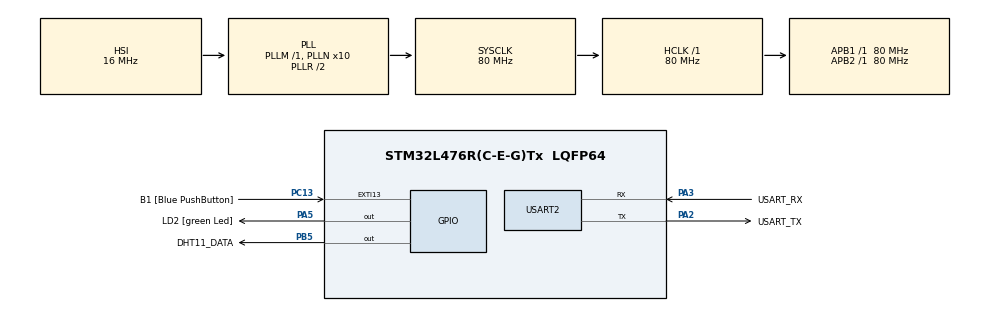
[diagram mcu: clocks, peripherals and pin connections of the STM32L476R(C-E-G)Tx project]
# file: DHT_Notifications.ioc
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FREERTOS.Tasks01=defaultTask,24,128,StartDefaultTask,Default,NULL,Dynamic,NULL,NULL
FREERTOS.configTOTAL_HEAP_SIZE=8192
Mcu.Family=STM32L4
Mcu.Name=STM32L476R(C-E-G)Tx
Mcu.Package=LQFP64
NVIC.PriorityGroup=NVIC_PRIORITYGROUP_4
PA13\ (JTMS-SWDIO).GPIO_Label=TMS
PA13\ (JTMS-SWDIO).Mode=Serial_Wire
PA13\ (JTMS-SWDIO).Signal=SYS_JTMS-SWDIO
PA14\ (JTCK-SWCLK).GPIO_Label=TCK
PA14\ (JTCK-SWCLK).Mode=Serial_Wire
PA14\ (JTCK-SWCLK).Signal=SYS_JTCK-SWCLK
PA2.GPIO_Label=USART_TX
PA2.GPIO_Mode=GPIO_MODE_AF_PP
PA2.GPIO_PuPd=GPIO_NOPULL
PA2.GPIO_Speed=GPIO_SPEED_FREQ_VERY_HIGH
PA2.Mode=Asynchronous
PA2.Signal=USART2_TX
PA3.GPIO_Label=USART_RX
PA3.GPIO_Mode=GPIO_MODE_AF_PP
PA3.GPIO_PuPd=GPIO_NOPULL
PA3.GPIO_Speed=GPIO_SPEED_FREQ_VERY_HIGH
PA3.Mode=Asynchronous
PA3.Signal=USART2_RX
PA5.GPIO_Label=LD2 [green Led]
PA5.GPIO_ModeDefaultOutputPP=GPIO_MODE_OUTPUT_PP
PA5.GPIO_PuPd=GPIO_NOPULL
PA5.GPIO_Speed=GPIO_SPEED_FREQ_LOW
PA5.Signal=GPIO_Output
PB3\ (JTDO-TRACESWO).GPIO_Label=SWO
PB3\ (JTDO-TRACESWO).Signal=SYS_JTDO-SWO
PB5.GPIO_Label=DHT11_DATA
PB5.Signal=GPIO_Output
PC13.GPIO_Label=B1 [Blue PushButton]
PC13.GPIO_ModeDefaultEXTI=GPIO_MODE_IT_FALLING
PC13.GPIO_PuPd=GPIO_NOPULL
PC13.Signal=GPXTI13
PC14-OSC32_IN\ (PC14).Mode=LSE-External-Oscillator
PC14-OSC32_IN\ (PC14).Signal=RCC_OSC32_IN
PC15-OSC32_OUT\ (PC15).Mode=LSE-External-Oscillator
PC15-OSC32_OUT\ (PC15).Signal=RCC_OSC32_OUT
PH0-OSC_IN\ (PH0).Signal=RCC_OSC_IN
PH1-OSC_OUT\ (PH1).Signal=RCC_OSC_OUT
ProjectManager.HeapSize=0x200
ProjectManager.StackSize=0x400
ProjectManager.TargetToolchain=CMake
RCC.ADCFreq_Value=64000000
RCC.AHBFreq_Value=80000000
RCC.APB1Freq_Value=80000000
RCC.APB1TimFreq_Value=80000000
RCC.APB2Freq_Value=80000000
RCC.APB2TimFreq_Value=80000000
RCC.CortexFreq_Value=80000000
RCC.HCLKFreq_Value=80000000
RCC.HSE_VALUE=8000000
RCC.HSI_VALUE=16000000
RCC.MSI_VALUE=4000000
RCC.PLLN=10
RCC.PLLSourceVirtual=RCC_PLLSOURCE_HSI
RCC.PREFETCH_ENABLE=1
RCC.SYSCLKFreq_VALUE=80000000
RCC.SYSCLKSource=RCC_SYSCLKSOURCE_PLLCLK
RCC.USBFreq_Value=64000000
RCC.VCOOutputFreq_Value=160000000
USART2.VirtualMode-Asynchronous=VM_ASYNC
VP_FREERTOS_VS_CMSIS_V2.Mode=CMSIS_V2
board=NUCLEO-L476RG

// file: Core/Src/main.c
/* USER CODE BEGIN Header */
/**
 ******************************************************************************
 * @file           : main.c
 * @brief          : Main program body
 ******************************************************************************
 * @attention
 *
 * Copyright (c) 2026 STMicroelectronics.
 * All rights reserved.
 *
 * This software is licensed under terms that can be found in the LICENSE file
 * in the root directory of this software component.
 * If no LICENSE file comes with this software, it is provided AS-IS.
 *
 ******************************************************************************
 */
/* USER CODE END Header */
#include "main.h"
#include "cmsis_os.h"

/* USER CODE BEGIN Includes */
#include "delay_task.h"
#include "dht_task.h"
#include "print_task.h"

/* USER CODE END Includes */

UART_HandleTypeDef huart2;

/* Definitions for defaultTask */
osThreadId_t defaultTaskHandle;
const osThreadAttr_t defaultTask_attributes = {
    .name = "defaultTask",
    .stack_size = 128 * 4,
    .priority = (osPriority_t)osPriorityNormal,
};
/* USER CODE BEGIN PV */
TaskHandle_t dhtTaskHandle;
TaskHandle_t printTaskHandle;
/* USER CODE END PV */

void SystemClock_Config(void);
static void MX_GPIO_Init(void);
static void MX_USART2_UART_Init(void);
void StartDefaultTask(void *argument);

int main(void)
{

    /* MCU
     * Configuration--------------------------------------------------------*/

    /* Reset of all peripherals, Initializes the Flash interface and the
     * Systick. */
    HAL_Init();

    /* Configure the system clock */
    SystemClock_Config();

    /* Initialize all configured peripherals */
    MX_GPIO_Init();
    MX_USART2_UART_Init();

    /* Init scheduler */
    osKernelInitialize();

    /* Create the thread(s) */
    /* creation of defaultTask */
    defaultTaskHandle =
        osThreadNew(StartDefaultTask, NULL, &defaultTask_attributes);

    /* Start scheduler */
    osKernelStart();

    /* We should never get here as control is now taken by the scheduler */

    /* Infinite loop */
    while (1)
    {

    }
}

void SystemClock_Config(void)
{
    RCC_OscInitTypeDef RCC_OscInitStruct = {0};
    RCC_ClkInitTypeDef RCC_ClkInitStruct = {0};

    /** Configure the main internal regulator output voltage
     */
    if (HAL_PWREx_ControlVoltageScaling(PWR_REGULATOR_VOLTAGE_SCALE1) != HAL_OK)
    {
        Error_Handler();
    }

    /** Initializes the RCC Oscillators according to the specified parameters
     * in the RCC_OscInitTypeDef structure.
     */
    RCC_OscInitStruct.OscillatorType = RCC_OSCILLATORTYPE_HSI;
    RCC_OscInitStruct.HSIState = RCC_HSI_ON;
    RCC_OscInitStruct.HSICalibrationValue = RCC_HSICALIBRATION_DEFAULT;
    RCC_OscInitStruct.PLL.PLLState = RCC_PLL_ON;
    RCC_OscInitStruct.PLL.PLLSource = RCC_PLLSOURCE_HSI;
    RCC_OscInitStruct.PLL.PLLM = 1;
    RCC_OscInitStruct.PLL.PLLN = 10;
    RCC_OscInitStruct.PLL.PLLP = RCC_PLLP_DIV7;
    RCC_OscInitStruct.PLL.PLLQ = RCC_PLLQ_DIV2;
    RCC_OscInitStruct.PLL.PLLR = RCC_PLLR_DIV2;
    if (HAL_RCC_OscConfig(&RCC_OscInitStruct) != HAL_OK)
    {
        Error_Handler();
    }

    /** Initializes the CPU, AHB and APB buses clocks
     */
    RCC_ClkInitStruct.ClockType = RCC_CLOCKTYPE_HCLK | RCC_CLOCKTYPE_SYSCLK |
                                  RCC_CLOCKTYPE_PCLK1 | RCC_CLOCKTYPE_PCLK2;
    RCC_ClkInitStruct.SYSCLKSource = RCC_SYSCLKSOURCE_PLLCLK;
    RCC_ClkInitStruct.AHBCLKDivider = RCC_SYSCLK_DIV1;
    RCC_ClkInitStruct.APB1CLKDivider = RCC_HCLK_DIV1;
    RCC_ClkInitStruct.APB2CLKDivider = RCC_HCLK_DIV1;

    if (HAL_RCC_ClockConfig(&RCC_ClkInitStruct, FLASH_LATENCY_4) != HAL_OK)
    {
        Error_Handler();
    }
}

static void MX_USART2_UART_Init(void)
{

    huart2.Instance = USART2;
    huart2.Init.BaudRate = 115200;
    huart2.Init.WordLength = UART_WORDLENGTH_8B;
    huart2.Init.StopBits = UART_STOPBITS_1;
    huart2.Init.Parity = UART_PARITY_NONE;
    huart2.Init.Mode = UART_MODE_TX_RX;
    huart2.Init.HwFlowCtl = UART_HWCONTROL_NONE;
    huart2.Init.OverSampling = UART_OVERSAMPLING_16;
    huart2.Init.OneBitSampling = UART_ONE_BIT_SAMPLE_DISABLE;
    huart2.AdvancedInit.AdvFeatureInit = UART_ADVFEATURE_NO_INIT;
    if (HAL_UART_Init(&huart2) != HAL_OK)
    {
        Error_Handler();
    }
}

static void MX_GPIO_Init(void)
{
    GPIO_InitTypeDef GPIO_InitStruct = {0};

    /* GPIO Ports Clock Enable */
    __HAL_RCC_GPIOC_CLK_ENABLE();
    __HAL_RCC_GPIOH_CLK_ENABLE();
    __HAL_RCC_GPIOA_CLK_ENABLE();
    __HAL_RCC_GPIOB_CLK_ENABLE();

    /*Configure GPIO pin Output Level */
    HAL_GPIO_WritePin(LD2_GPIO_Port, LD2_Pin, GPIO_PIN_RESET);

    /*Configure GPIO pin Output Level */
    HAL_GPIO_WritePin(DHT11_DATA_GPIO_Port, DHT11_DATA_Pin, GPIO_PIN_RESET);

    /*Configure GPIO pin : B1_Pin */
    GPIO_InitStruct.Pin = B1_Pin;
    GPIO_InitStruct.Mode = GPIO_MODE_IT_FALLING;
    GPIO_InitStruct.Pull = GPIO_NOPULL;
    HAL_GPIO_Init(B1_GPIO_Port, &GPIO_InitStruct);

    /*Configure GPIO pin : LD2_Pin */
    GPIO_InitStruct.Pin = LD2_Pin;
    GPIO_InitStruct.Mode = GPIO_MODE_OUTPUT_PP;
    GPIO_InitStruct.Pull = GPIO_NOPULL;
    GPIO_InitStruct.Speed = GPIO_SPEED_FREQ_LOW;
    HAL_GPIO_Init(LD2_GPIO_Port, &GPIO_InitStruct);

    /*Configure GPIO pin : DHT11_DATA_Pin */
    GPIO_InitStruct.Pin = DHT11_DATA_Pin;
    GPIO_InitStruct.Mode = GPIO_MODE_OUTPUT_PP;
    GPIO_InitStruct.Pull = GPIO_NOPULL;
    GPIO_InitStruct.Speed = GPIO_SPEED_FREQ_LOW;
    HAL_GPIO_Init(DHT11_DATA_GPIO_Port, &GPIO_InitStruct);

}

void StartDefaultTask(void *argument)
{
    /* USER CODE BEGIN 5 */
    osThreadAttr_t task_attr;
    (void)argument;

    task_attr.attr_bits = 0;
    task_attr.cb_mem = NULL;
    task_attr.cb_size = 0;
    task_attr.stack_mem = NULL;
    task_attr.stack_size = 256 * 4;
    task_attr.tz_module = 0;
    task_attr.reserved = 0;

    task_attr.name = "DHT";
    task_attr.priority = (osPriority_t)osPriorityAboveNormal;
    dhtTaskHandle = (TaskHandle_t)osThreadNew(DHTTask, NULL, &task_attr);

    task_attr.name = "Delay";
    task_attr.priority = (osPriority_t)osPriorityNormal;
    osThreadNew(DelayTask, NULL, &task_attr);

    task_attr.name = "Print";
    task_attr.priority = (osPriority_t)osPriorityNormal;
    printTaskHandle = (TaskHandle_t)osThreadNew(PrintTask, NULL, &task_attr);

    for (;;)
    {
        osDelay(1);
    }
    /* USER CODE END 5 */
}

void Error_Handler(void)
{
    /* USER CODE BEGIN Error_Handler_Debug */
    /* User can add his own implementation to report the HAL error return state
     */
    __disable_irq();
    while (1)
    {
    }
    /* USER CODE END Error_Handler_Debug */
}
#ifdef USE_FULL_ASSERT
/**
 * @brief  Reports the name of the source file and the source line number
 *         where the assert_param error has occurred.
 * @param  file: pointer to the source file name
 * @param  line: assert_param error line source number
 * @retval None
 */
void assert_failed(uint8_t *file, uint32_t line)
{
    /* USER CODE BEGIN 6 */
    /* User can add his own implementation to report the file name and line
       number, ex: printf("Wrong parameters value: file %s on line %d\r\n",
       file, line) */
    /* USER CODE END 6 */
}
#endif /* USE_FULL_ASSERT */
